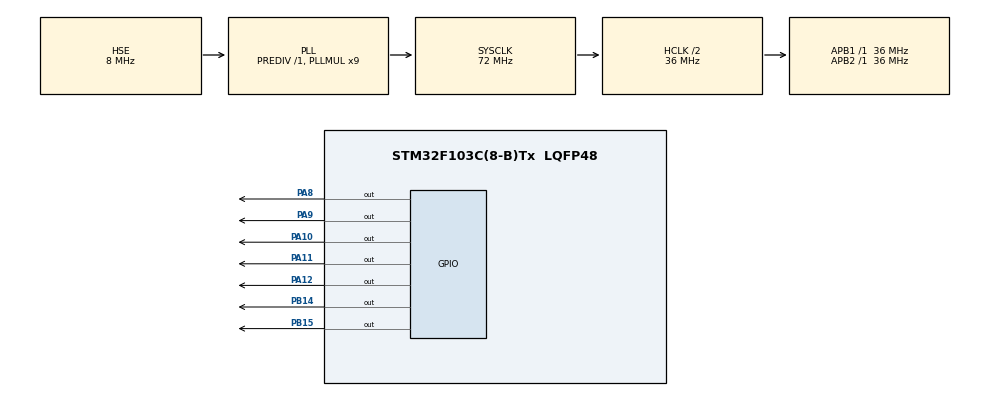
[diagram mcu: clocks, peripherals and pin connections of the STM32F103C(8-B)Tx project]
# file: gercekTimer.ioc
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Mcu.Family=STM32F1
Mcu.Name=STM32F103C(8-B)Tx
Mcu.Package=LQFP48
NVIC.PriorityGroup=NVIC_PRIORITYGROUP_4
NVIC.TIM2_IRQn=true\:0\:0\:false\:false\:true\:true\:true\:true
PA10.Signal=GPIO_Output
PA11.Signal=GPIO_Output
PA12.Signal=GPIO_Output
PA13.Mode=Serial_Wire
PA13.Signal=SYS_JTMS-SWDIO
PA14.Mode=Serial_Wire
PA14.Signal=SYS_JTCK-SWCLK
PA8.Signal=GPIO_Output
PA9.Signal=GPIO_Output
PB14.Signal=GPIO_Output
PB15.Signal=GPIO_Output
PD0-OSC_IN.Mode=HSE-External-Oscillator
PD0-OSC_IN.Signal=RCC_OSC_IN
PD1-OSC_OUT.Mode=HSE-External-Oscillator
PD1-OSC_OUT.Signal=RCC_OSC_OUT
ProjectManager.HeapSize=0x200
ProjectManager.StackSize=0x400
ProjectManager.TargetToolchain=STM32CubeIDE
RCC.AHBCLKDivider=RCC_SYSCLK_DIV2
RCC.AHBFreq_Value=36000000
RCC.APB1Freq_Value=36000000
RCC.APB1TimFreq_Value=36000000
RCC.APB2Freq_Value=36000000
RCC.APB2TimFreq_Value=36000000
RCC.HCLKFreq_Value=36000000
RCC.PLLMUL=RCC_PLL_MUL9
RCC.PLLSourceVirtual=RCC_PLLSOURCE_HSE
RCC.SYSCLKFreq_VALUE=72000000
RCC.SYSCLKSource=RCC_SYSCLKSOURCE_PLLCLK
RCC.USBFreq_Value=72000000
TIM2.Period=9999
TIM2.Prescaler=3599
VP_TIM2_VS_ClockSourceINT.Mode=Internal
board=custom

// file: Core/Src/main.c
/* USER CODE BEGIN Header */
/**
  ******************************************************************************
  * @file           : main.c
  * @brief          : Main program body
  ******************************************************************************
  * @attention
  *
  * Copyright (c) 2024 STMicroelectronics.
  * All rights reserved.
  *
  * This software is licensed under terms that can be found in the LICENSE file
  * in the root directory of this software component.
  * If no LICENSE file comes with this software, it is provided AS-IS.
  *
  ******************************************************************************
  */
/* USER CODE END Header */
#include "main.h"

TIM_HandleTypeDef htim2;

void SystemClock_Config(void);
static void MX_GPIO_Init(void);
static void MX_TIM2_Init(void);

/* USER CODE BEGIN 0 */
int deger=0;
void yak(int sayi)
{
    switch(sayi)
    {
        case 0:
            HAL_GPIO_WritePin(GPIOA, GPIO_PIN_8, RESET);  // a
            HAL_GPIO_WritePin(GPIOA, GPIO_PIN_9, RESET);  // b
            HAL_GPIO_WritePin(GPIOA, GPIO_PIN_10, RESET);  // c
            HAL_GPIO_WritePin(GPIOA, GPIO_PIN_11, RESET); // d
            HAL_GPIO_WritePin(GPIOA, GPIO_PIN_12, RESET); // e
            HAL_GPIO_WritePin(GPIOB, GPIO_PIN_14, RESET); // f
            HAL_GPIO_WritePin(GPIOB, GPIO_PIN_15, SET); // g FIXED
            break;
        case 1:
                    HAL_GPIO_WritePin(GPIOA, GPIO_PIN_8, SET);  // a
                    HAL_GPIO_WritePin(GPIOA, GPIO_PIN_9, RESET);  // b
                    HAL_GPIO_WritePin(GPIOA, GPIO_PIN_10, RESET);  // c
                    HAL_GPIO_WritePin(GPIOA, GPIO_PIN_11,SET); // d
                    HAL_GPIO_WritePin(GPIOA, GPIO_PIN_12, SET); // e
                    HAL_GPIO_WritePin(GPIOB, GPIO_PIN_14, SET); // f
                    HAL_GPIO_WritePin(GPIOB, GPIO_PIN_15, SET); // g FIXED
                    break;
        case 2:
                    HAL_GPIO_WritePin(GPIOA, GPIO_PIN_8, RESET);  // a
                    HAL_GPIO_WritePin(GPIOA, GPIO_PIN_9, RESET);  // b
                    HAL_GPIO_WritePin(GPIOA, GPIO_PIN_10, SET);  // c
                    HAL_GPIO_WritePin(GPIOA, GPIO_PIN_11, RESET); // d
                    HAL_GPIO_WritePin(GPIOA, GPIO_PIN_12, RESET); // e
                    HAL_GPIO_WritePin(GPIOB, GPIO_PIN_14, SET); // f
                    HAL_GPIO_WritePin(GPIOB, GPIO_PIN_15, RESET); // g FIXED
                    break;
        case 3:
                    HAL_GPIO_WritePin(GPIOA, GPIO_PIN_8, RESET);  // a
                    HAL_GPIO_WritePin(GPIOA, GPIO_PIN_9, RESET);  // b
                    HAL_GPIO_WritePin(GPIOA, GPIO_PIN_10, RESET);  // c
                    HAL_GPIO_WritePin(GPIOA, GPIO_PIN_11, RESET); // d
                    HAL_GPIO_WritePin(GPIOA, GPIO_PIN_12, SET); // e
                    HAL_GPIO_WritePin(GPIOB, GPIO_PIN_14, SET); // f
                    HAL_GPIO_WritePin(GPIOB, GPIO_PIN_15, RESET); // g FIXED
                   break;
        case 4:
                    HAL_GPIO_WritePin(GPIOA, GPIO_PIN_8, SET);  // a
                    HAL_GPIO_WritePin(GPIOA, GPIO_PIN_9, RESET);  // b
                    HAL_GPIO_WritePin(GPIOA, GPIO_PIN_10, RESET);  // c
                    HAL_GPIO_WritePin(GPIOA, GPIO_PIN_11, SET); // d
                    HAL_GPIO_WritePin(GPIOA, GPIO_PIN_12, SET); // e
                    HAL_GPIO_WritePin(GPIOB, GPIO_PIN_14, RESET); // f
                    HAL_GPIO_WritePin(GPIOB, GPIO_PIN_15, RESET); // g FIXED
                    break;
        case 5:
                    HAL_GPIO_WritePin(GPIOA, GPIO_PIN_8, RESET);  // a
                    HAL_GPIO_WritePin(GPIOA, GPIO_PIN_9, SET);  // b
                    HAL_GPIO_WritePin(GPIOA, GPIO_PIN_10, RESET);  // c
                    HAL_GPIO_WritePin(GPIOA, GPIO_PIN_11, RESET); // d
                    HAL_GPIO_WritePin(GPIOA, GPIO_PIN_12, SET); // e
                    HAL_GPIO_WritePin(GPIOB, GPIO_PIN_14, RESET); // f
                    HAL_GPIO_WritePin(GPIOB, GPIO_PIN_15, RESET); // g FIXED
                    break;
        case 6:
                    HAL_GPIO_WritePin(GPIOA, GPIO_PIN_8, RESET);  // a
                    HAL_GPIO_WritePin(GPIOA, GPIO_PIN_9, SET);  // b
                    HAL_GPIO_WritePin(GPIOA, GPIO_PIN_10, RESET);  // c
                    HAL_GPIO_WritePin(GPIOA, GPIO_PIN_11, RESET); // d
                    HAL_GPIO_WritePin(GPIOA, GPIO_PIN_12, RESET); // e
                    HAL_GPIO_WritePin(GPIOB, GPIO_PIN_14, RESET); // f
                    HAL_GPIO_WritePin(GPIOB, GPIO_PIN_15, RESET); // g FIXED
                    break;
        case 7:
                    HAL_GPIO_WritePin(GPIOA, GPIO_PIN_8, RESET);  // a
                    HAL_GPIO_WritePin(GPIOA, GPIO_PIN_9, RESET);  // b
                    HAL_GPIO_WritePin(GPIOA, GPIO_PIN_10, RESET);  // c
                    HAL_GPIO_WritePin(GPIOA, GPIO_PIN_11, SET); // d
                    HAL_GPIO_WritePin(GPIOA, GPIO_PIN_12, SET); // e
                    HAL_GPIO_WritePin(GPIOB, GPIO_PIN_14, SET); // f
                    HAL_GPIO_WritePin(GPIOB, GPIO_PIN_15, SET); // g FIXED
                    break;
        case 8:
                    HAL_GPIO_WritePin(GPIOA, GPIO_PIN_8, RESET);  // a
                    HAL_GPIO_WritePin(GPIOA, GPIO_PIN_9, RESET);  // b
                    HAL_GPIO_WritePin(GPIOA, GPIO_PIN_10, RESET);  // c
                    HAL_GPIO_WritePin(GPIOA, GPIO_PIN_11, RESET); // d
                    HAL_GPIO_WritePin(GPIOA, GPIO_PIN_12, RESET); // e
                    HAL_GPIO_WritePin(GPIOB, GPIO_PIN_14, RESET); // f
                    HAL_GPIO_WritePin(GPIOB, GPIO_PIN_15, RESET); // g FIXED
                    break;
        case 9:
                    HAL_GPIO_WritePin(GPIOA, GPIO_PIN_8, RESET);  // a
                    HAL_GPIO_WritePin(GPIOA, GPIO_PIN_9, RESET);  // b
                    HAL_GPIO_WritePin(GPIOA, GPIO_PIN_10, RESET);  // c
                    HAL_GPIO_WritePin(GPIOA, GPIO_PIN_11, RESET); // d
                    HAL_GPIO_WritePin(GPIOA, GPIO_PIN_12, SET); // e
                    HAL_GPIO_WritePin(GPIOB, GPIO_PIN_14, RESET); // f
                    HAL_GPIO_WritePin(GPIOB, GPIO_PIN_15, RESET); // g FIXED
                    break;

    }}

/* USER CODE END 0 */

int main(void)
{

  /* MCU Configuration--------------------------------------------------------*/

  /* Reset of all peripherals, Initializes the Flash interface and the Systick. */
  HAL_Init();

  /* Configure the system clock */
  SystemClock_Config();

  /* Initialize all configured peripherals */
  MX_GPIO_Init();
  MX_TIM2_Init();
  /* USER CODE BEGIN 2 */
  HAL_TIM_Base_Start_IT(&htim2);
  /* USER CODE END 2 */

  /* Infinite loop */
  while (1)
  {

    /* USER CODE BEGIN 3 */
	if(deger>9){
		deger=0;
	}
	yak(deger);
  }
  /* USER CODE END 3 */
}

void SystemClock_Config(void)
{
  RCC_OscInitTypeDef RCC_OscInitStruct = {0};
  RCC_ClkInitTypeDef RCC_ClkInitStruct = {0};

  /** Initializes the RCC Oscillators according to the specified parameters
  * in the RCC_OscInitTypeDef structure.
  */
  RCC_OscInitStruct.OscillatorType = RCC_OSCILLATORTYPE_HSE;
  RCC_OscInitStruct.HSEState = RCC_HSE_ON;
  RCC_OscInitStruct.HSEPredivValue = RCC_HSE_PREDIV_DIV1;
  RCC_OscInitStruct.HSIState = RCC_HSI_ON;
  RCC_OscInitStruct.PLL.PLLState = RCC_PLL_ON;
  RCC_OscInitStruct.PLL.PLLSource = RCC_PLLSOURCE_HSE;
  RCC_OscInitStruct.PLL.PLLMUL = RCC_PLL_MUL9;
  if (HAL_RCC_OscConfig(&RCC_OscInitStruct) != HAL_OK)
  {
    Error_Handler();
  }

  /** Initializes the CPU, AHB and APB buses clocks
  */
  RCC_ClkInitStruct.ClockType = RCC_CLOCKTYPE_HCLK|RCC_CLOCKTYPE_SYSCLK
                              |RCC_CLOCKTYPE_PCLK1|RCC_CLOCKTYPE_PCLK2;
  RCC_ClkInitStruct.SYSCLKSource = RCC_SYSCLKSOURCE_PLLCLK;
  RCC_ClkInitStruct.AHBCLKDivider = RCC_SYSCLK_DIV2;
  RCC_ClkInitStruct.APB1CLKDivider = RCC_HCLK_DIV1;
  RCC_ClkInitStruct.APB2CLKDivider = RCC_HCLK_DIV1;

  if (HAL_RCC_ClockConfig(&RCC_ClkInitStruct, FLASH_LATENCY_2) != HAL_OK)
  {
    Error_Handler();
  }
}

static void MX_TIM2_Init(void)
{

  TIM_ClockConfigTypeDef sClockSourceConfig = {0};
  TIM_MasterConfigTypeDef sMasterConfig = {0};

  htim2.Instance = TIM2;
  htim2.Init.Prescaler = 3599;
  htim2.Init.CounterMode = TIM_COUNTERMODE_UP;
  htim2.Init.Period = 9999;
  htim2.Init.ClockDivision = TIM_CLOCKDIVISION_DIV1;
  htim2.Init.AutoReloadPreload = TIM_AUTORELOAD_PRELOAD_DISABLE;
  if (HAL_TIM_Base_Init(&htim2) != HAL_OK)
  {
    Error_Handler();
  }
  sClockSourceConfig.ClockSource = TIM_CLOCKSOURCE_INTERNAL;
  if (HAL_TIM_ConfigClockSource(&htim2, &sClockSourceConfig) != HAL_OK)
  {
    Error_Handler();
  }
  sMasterConfig.MasterOutputTrigger = TIM_TRGO_RESET;
  sMasterConfig.MasterSlaveMode = TIM_MASTERSLAVEMODE_DISABLE;
  if (HAL_TIMEx_MasterConfigSynchronization(&htim2, &sMasterConfig) != HAL_OK)
  {
    Error_Handler();
  }

}

static void MX_GPIO_Init(void)
{
  GPIO_InitTypeDef GPIO_InitStruct = {0};

  /* GPIO Ports Clock Enable */
  __HAL_RCC_GPIOD_CLK_ENABLE();
  __HAL_RCC_GPIOB_CLK_ENABLE();
  __HAL_RCC_GPIOA_CLK_ENABLE();

  /*Configure GPIO pin Output Level */
  HAL_GPIO_WritePin(GPIOB, GPIO_PIN_14|GPIO_PIN_15, GPIO_PIN_RESET);

  /*Configure GPIO pin Output Level */
  HAL_GPIO_WritePin(GPIOA, GPIO_PIN_8|GPIO_PIN_9|GPIO_PIN_10|GPIO_PIN_11
                          |GPIO_PIN_12, GPIO_PIN_RESET);

  /*Configure GPIO pins : PB14 PB15 */
  GPIO_InitStruct.Pin = GPIO_PIN_14|GPIO_PIN_15;
  GPIO_InitStruct.Mode = GPIO_MODE_OUTPUT_PP;
  GPIO_InitStruct.Pull = GPIO_NOPULL;
  GPIO_InitStruct.Speed = GPIO_SPEED_FREQ_LOW;
  HAL_GPIO_Init(GPIOB, &GPIO_InitStruct);

  /*Configure GPIO pins : PA8 PA9 PA10 PA11
                           PA12 */
  GPIO_InitStruct.Pin = GPIO_PIN_8|GPIO_PIN_9|GPIO_PIN_10|GPIO_PIN_11
                          |GPIO_PIN_12;
  GPIO_InitStruct.Mode = GPIO_MODE_OUTPUT_PP;
  GPIO_InitStruct.Pull = GPIO_NOPULL;
  GPIO_InitStruct.Speed = GPIO_SPEED_FREQ_LOW;
  HAL_GPIO_Init(GPIOA, &GPIO_InitStruct);

}

/* USER CODE BEGIN 4 */
void HAL_TIM_PeriodElapsedCallback(TIM_HandleTypeDef *htim){
	deger++;
}
/* USER CODE END 4 */

void Error_Handler(void)
{
  __disable_irq();
  while (1)
  {
  }
}
